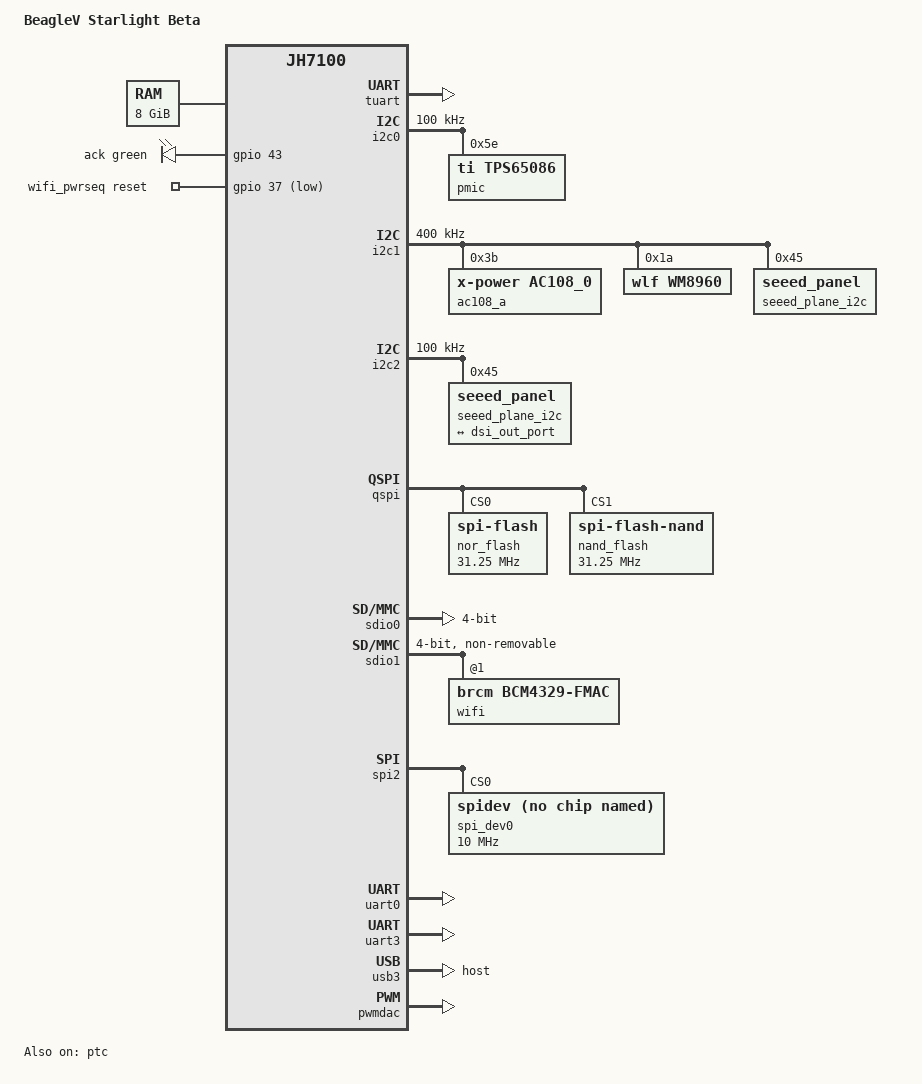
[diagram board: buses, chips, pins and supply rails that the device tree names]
// SPDX-License-Identifier: (GPL-2.0 OR MIT)
/* Copyright (c) 2021 StarFive Technology Co., Ltd. */

/dts-v1/;
#include "jh7100.dtsi"
#include <dt-bindings/gpio/gpio.h>
#include <dt-bindings/leds/common.h>
#include <dt-bindings/pinctrl/pinctrl-starfive.h>
#include <dt-bindings/starfive_fb.h>

/ {
	model = "BeagleV Starlight Beta";
	compatible = "beagle,beaglev-starlight-jh7100", "starfive,jh7100";

	aliases {
		mshc0 = &sdio0;
		mshc1 = &sdio1;
		serial0 = &uart3;
		serial1 = &uart0;
	};

	chosen {
		stdout-path = "serial0:115200n8";

        opensbi-domains {
            compatible = "opensbi,domain,config";

            tmem1: tmem1 {
                compatible = "opensbi,domain,memregion";
                base = <0x0 0xc0000000>;
                order = <30>;   // 1G
            };

            tmem2: tmem2 {
                compatible = "opensbi,domain,memregion";
                base = <0x1 0x00000000>;
                order = <32>;   // 4G
            };

            tmem3: tmem3 {
                compatible = "opensbi,domain,memregion";
                base = <0x2 0x00000000>;
                order = <31>;   // 2G
            };

            // uart used by secure linux
            tuart: tuart {
                compatible = "opensbi,domain,memregion";
                base = <0x0 0x12440000>;
                order = <16>;
                mmio;
                devices = <&uart3>;
            };

            // ethernet used by secure linux
            teth: teth {
                compatible = "opensbi,domain,memregion";
                base = <0x0 0x10020000>;
                order = <16>;
                mmio;
                devices = <&gmac>;
            };

            allmem: allmem {
                compatible = "opensbi,domain,memregion";
                base = <0x0 0x0>;
                order = <64>;
            };

            udomain: untrusted-domain {
                compatible = "opensbi,domain,instance";
                possible-harts = <&cpu0>;
                regions = <&tmem1 0x0>, <&tmem2 0x0>, <&tmem3 0x0>, <&tuart 0x0>, <&teth 0x0>, <&allmem 0x7>;
                boot-hart = <&cpu0>;
                next-arg1 = <0x0 0x82200000>;
                next-addr = <0x0 0x80200000>;
                next-mode = <0x1>;
                system-manager;
            };

            tdomain: trusted-domain {
                compatible = "opensbi,domain,instance";
                possible-harts = <&cpu1>;
                regions = <&allmem 0x7>;
                boot-hart = <&cpu1>;
                next-arg1 = <0x1 0x86000000>;
                next-addr = <0x0 0xc0200000>;
                next-mode = <0x1>;
                system-reset-allowed;
            };
        };
	};

	cpus {
		timebase-frequency = <6250000>;
        #address-cells = <1>;
		#size-cells = <0>;

		cpu0: cpu@0 {
			compatible = "sifive,u74-mc", "riscv";
            opensbi-domain = <&udomain>;
			d-cache-block-size = <64>;
			d-cache-sets = <64>;
			d-cache-size = <32768>;
			d-tlb-sets = <1>;
			d-tlb-size = <32>;
			device_type = "cpu";
			i-cache-block-size = <64>;
			i-cache-sets = <64>;
			i-cache-size = <32768>;
			i-tlb-sets = <1>;
			i-tlb-size = <32>;
			mmu-type = "riscv,sv39";
			next-level-cache = <&ccache>;
			reg = <0>;
			riscv,isa = "rv64imafdc";
			starfive,itim = <&itim0>;
			status = "okay";
			tlb-split;
			cpu0_intc: interrupt-controller {
				#interrupt-cells = <1>;
				compatible = "riscv,cpu-intc";
				interrupt-controller;
			};
		};

		cpu1: cpu@1 {
			compatible = "sifive,u74-mc", "riscv";
            opensbi-domain = <&tdomain>;
			d-cache-block-size = <64>;
			d-cache-sets = <64>;
			d-cache-size = <32768>;
			d-tlb-sets = <1>;
			d-tlb-size = <32>;
			device_type = "cpu";
			i-cache-block-size = <64>;
			i-cache-sets = <64>;
			i-cache-size = <32768>;
			i-tlb-sets = <1>;
			i-tlb-size = <32>;
			mmu-type = "riscv,sv39";
			next-level-cache = <&ccache>;
			reg = <1>;
			riscv,isa = "rv64imafdc";
			starfive,itim = <&itim1>;
			status = "okay";
			tlb-split;
			cpu1_intc: interrupt-controller {
				#interrupt-cells = <1>;
				compatible = "riscv,cpu-intc";
				interrupt-controller;
			};
		};
	};

	memory@80000000 {
		device_type = "memory";
		reg = <0x0 0x80000000 0x2 0x0>;
	};

	leds {
		compatible = "gpio-leds";

		led-ack {
			gpios = <&gpio 43 GPIO_ACTIVE_HIGH>;
			color = <LED_COLOR_ID_GREEN>;
			function = LED_FUNCTION_HEARTBEAT;
			linux,default-trigger = "heartbeat";
			label = "ack";
		};
	};

	reserved-memory {
		#address-cells = <2>;
		#size-cells = <2>;
		ranges;

        payload_reserved: mmode_resv0@80080000 {
            reg = <0x0 0xc0000000 0x1 0xc0000000>;
        };
	};

	wifi_pwrseq: wifi-pwrseq {
		compatible = "mmc-pwrseq-simple";
		reset-gpios = <&gpio 37 GPIO_ACTIVE_LOW>;
	};
};

&gmac {
	snps,reset-gpios = <&gpio 63 GPIO_ACTIVE_LOW>;
	pinctrl-names = "default";
	pinctrl-0 = <&gmac_pins>;
};

&gpio {
	/* don't reset gpio mux for serial console on uart3 */
	starfive,keep-gpiomux = <13 14 0 2 3 45>;

	gmac_pins: gmac-0 {
		gtxclk-pins {
			pins = <PAD_FUNC_SHARE(115)>;
			bias-pull-up;
			drive-strength = <35>;
			input-enable;
			input-schmitt-enable;
			slew-rate = <0>;
		};
		miitxclk-pins {
			pins = <PAD_FUNC_SHARE(116)>;
			bias-pull-up;
			drive-strength = <14>;
			input-enable;
			input-schmitt-disable;
			slew-rate = <0>;
		};
		tx-pins {
			pins = <PAD_FUNC_SHARE(117)>,
			       <PAD_FUNC_SHARE(119)>,
			       <PAD_FUNC_SHARE(120)>,
			       <PAD_FUNC_SHARE(121)>,
			       <PAD_FUNC_SHARE(122)>,
			       <PAD_FUNC_SHARE(123)>,
			       <PAD_FUNC_SHARE(124)>,
			       <PAD_FUNC_SHARE(125)>,
			       <PAD_FUNC_SHARE(126)>;
			bias-pull-up;
			drive-strength = <35>;
			input-disable;
			input-schmitt-disable;
			slew-rate = <0>;
		};
		rxclk-pins {
			pins = <PAD_FUNC_SHARE(127)>;
			bias-pull-up;
			drive-strength = <14>;
			input-enable;
			input-schmitt-disable;
			slew-rate = <6>;
		};
		rxer-pins {
			pins = <PAD_FUNC_SHARE(129)>;
			bias-pull-up;
			drive-strength = <14>;
			input-enable;
			input-schmitt-disable;
			slew-rate = <0>;
		};
		rx-pins {
			pins = <PAD_FUNC_SHARE(128)>,
			       <PAD_FUNC_SHARE(130)>,
			       <PAD_FUNC_SHARE(131)>,
			       <PAD_FUNC_SHARE(132)>,
			       <PAD_FUNC_SHARE(133)>,
			       <PAD_FUNC_SHARE(134)>,
			       <PAD_FUNC_SHARE(135)>,
			       <PAD_FUNC_SHARE(136)>,
			       <PAD_FUNC_SHARE(137)>,
			       <PAD_FUNC_SHARE(138)>,
			       <PAD_FUNC_SHARE(139)>,
			       <PAD_FUNC_SHARE(140)>,
			       <PAD_FUNC_SHARE(141)>;
			bias-pull-up;
			drive-strength = <14>;
			input-enable;
			input-schmitt-enable;
			slew-rate = <0>;
		};
	};

	i2c0_pins: i2c0-0 {
		i2c-pins {
			pinmux = <GPIOMUX(62, GPO_LOW,
				  GPO_I2C0_PAD_SCK_OEN,
				  GPI_I2C0_PAD_SCK_IN)>,
				 <GPIOMUX(61, GPO_LOW,
				  GPO_I2C0_PAD_SDA_OEN,
				  GPI_I2C0_PAD_SDA_IN)>;
			bias-disable; /* external pull-up */
			input-enable;
			input-schmitt-enable;
		};
	};

	i2c1_pins: i2c1-0 {
		i2c-pins {
			pinmux = <GPIOMUX(47, GPO_LOW,
				  GPO_I2C1_PAD_SCK_OEN,
				  GPI_I2C1_PAD_SCK_IN)>,
				 <GPIOMUX(48, GPO_LOW,
				  GPO_I2C1_PAD_SDA_OEN,
				  GPI_I2C1_PAD_SDA_IN)>;
			bias-pull-up;
			input-enable;
			input-schmitt-enable;
		};
	};

	i2c2_pins: i2c2-0 {
		i2c-pins {
			pinmux = <GPIOMUX(60, GPO_LOW,
				  GPO_I2C2_PAD_SCK_OEN,
				  GPI_I2C2_PAD_SCK_IN)>,
				 <GPIOMUX(59, GPO_LOW,
				  GPO_I2C2_PAD_SDA_OEN,
				  GPI_I2C2_PAD_SDA_IN)>;
			bias-disable; /* external pull-up */
			input-enable;
			input-schmitt-enable;
		};
	};

	pwm_pins: pwm-0 {
		pwm-pins {
			pinmux = <GPIOMUX(7,
				  GPO_PWM_PAD_OUT_BIT0,
				  GPO_PWM_PAD_OE_N_BIT0,
				  GPI_NONE)>,
				 <GPIOMUX(5,
				  GPO_PWM_PAD_OUT_BIT1,
				  GPO_PWM_PAD_OE_N_BIT1,
				  GPI_NONE)>;
				//  <GPIOMUX(45,
				//   GPO_PWM_PAD_OUT_BIT2,
				//   GPO_PWM_PAD_OE_N_BIT2,
				//   GPI_NONE)>;
			bias-disable;
			drive-strength = <35>;
			input-disable;
			input-schmitt-disable;
			slew-rate = <0>;
		};
	};

	sdio0_pins: sdio0-0 {
		clk-pins {
			pinmux = <GPIOMUX(54, GPO_SDIO0_PAD_CCLK_OUT,
				  GPO_ENABLE, GPI_NONE)>;
			bias-disable;
			input-disable;
			input-schmitt-disable;
		};
		sdio-pins {
			pinmux = <GPIOMUX(55, GPO_LOW, GPO_DISABLE,
				  GPI_SDIO0_PAD_CARD_DETECT_N)>,
				 <GPIOMUX(53,
				  GPO_SDIO0_PAD_CCMD_OUT,
				  GPO_SDIO0_PAD_CCMD_OEN,
				  GPI_SDIO0_PAD_CCMD_IN)>,
				 <GPIOMUX(49,
				  GPO_SDIO0_PAD_CDATA_OUT_BIT0,
				  GPO_SDIO0_PAD_CDATA_OEN_BIT0,
				  GPI_SDIO0_PAD_CDATA_IN_BIT0)>,
				 <GPIOMUX(50,
				  GPO_SDIO0_PAD_CDATA_OUT_BIT1,
				  GPO_SDIO0_PAD_CDATA_OEN_BIT1,
				  GPI_SDIO0_PAD_CDATA_IN_BIT1)>,
				 <GPIOMUX(51,
				  GPO_SDIO0_PAD_CDATA_OUT_BIT2,
				  GPO_SDIO0_PAD_CDATA_OEN_BIT2,
				  GPI_SDIO0_PAD_CDATA_IN_BIT2)>,
				 <GPIOMUX(52,
				  GPO_SDIO0_PAD_CDATA_OUT_BIT3,
				  GPO_SDIO0_PAD_CDATA_OEN_BIT3,
				  GPI_SDIO0_PAD_CDATA_IN_BIT3)>;
			bias-pull-up;
			input-enable;
			input-schmitt-enable;
		};
	};

	sdio1_pins: sdio1-0 {
		clk-pins {
			pinmux = <GPIOMUX(33, GPO_SDIO1_PAD_CCLK_OUT,
				  GPO_ENABLE, GPI_NONE)>;
			bias-disable;
			input-disable;
			input-schmitt-disable;
		};
		sdio-pins {
			pinmux = <GPIOMUX(29,
				  GPO_SDIO1_PAD_CCMD_OUT,
				  GPO_SDIO1_PAD_CCMD_OEN,
				  GPI_SDIO1_PAD_CCMD_IN)>,
				 <GPIOMUX(36,
				  GPO_SDIO1_PAD_CDATA_OUT_BIT0,
				  GPO_SDIO1_PAD_CDATA_OEN_BIT0,
				  GPI_SDIO1_PAD_CDATA_IN_BIT0)>,
				 <GPIOMUX(30,
				  GPO_SDIO1_PAD_CDATA_OUT_BIT1,
				  GPO_SDIO1_PAD_CDATA_OEN_BIT1,
				  GPI_SDIO1_PAD_CDATA_IN_BIT1)>,
				 <GPIOMUX(34,
				  GPO_SDIO1_PAD_CDATA_OUT_BIT2,
				  GPO_SDIO1_PAD_CDATA_OEN_BIT2,
				  GPI_SDIO1_PAD_CDATA_IN_BIT2)>,
				 <GPIOMUX(31,
				  GPO_SDIO1_PAD_CDATA_OUT_BIT3,
				  GPO_SDIO1_PAD_CDATA_OEN_BIT3,
				  GPI_SDIO1_PAD_CDATA_IN_BIT3)>;
			bias-pull-up;
			input-enable;
			input-schmitt-enable;
		};
	};

	spi2_pins: spi2-0 {
		mosi-pin {
			pinmux = <GPIOMUX(18, GPO_SPI2_PAD_TXD,
				  GPO_ENABLE, GPI_NONE)>;
			bias-disable;
			input-disable;
			input-schmitt-disable;
		};
		miso-pin {
			pinmux = <GPIOMUX(16, GPO_LOW, GPO_DISABLE,
				  GPI_SPI2_PAD_RXD)>;
			bias-pull-up;
			input-enable;
			input-schmitt-enable;
		};
		sck-pin {
			pinmux = <GPIOMUX(12, GPO_SPI2_PAD_SCK_OUT,
				  GPO_ENABLE, GPI_NONE)>;
			bias-disable;
			input-disable;
			input-schmitt-disable;
		};
		ss-pins {
			pinmux = <GPIOMUX(15, GPO_SPI2_PAD_SS_0_N,
				  GPO_ENABLE, GPI_NONE)>,
				 <GPIOMUX(11, GPO_SPI2_PAD_SS_1_N,
				  GPO_ENABLE, GPI_NONE)>;
			bias-disable;
			input-disable;
			input-schmitt-disable;
		};
	};

	uart0_pins: uart0-0 {
		rx-pins {
			pinmux = <GPIOMUX(40, GPO_LOW, GPO_DISABLE,
				  GPI_UART0_PAD_SIN)>,
				 <GPIOMUX(39, GPO_LOW, GPO_DISABLE,
				  GPI_UART0_PAD_CTSN)>;
			bias-pull-up;
			input-enable;
			input-schmitt-enable;
		};
		tx-pins {
			pinmux = <GPIOMUX(41, GPO_UART0_PAD_SOUT,
				  GPO_ENABLE, GPI_NONE)>,
				 <GPIOMUX(42, GPO_UART0_PAD_RTSN,
				  GPO_ENABLE, GPI_NONE)>;
			bias-disable;
			input-disable;
			input-schmitt-disable;
		};
	};

	uart3_pins: uart3-0 {
		rx-pins {
			pinmux = <GPIOMUX(13, GPO_LOW, GPO_DISABLE,
				  GPI_UART3_PAD_SIN)>;
			bias-pull-up;
			drive-strength = <14>;
			input-enable;
			input-schmitt-enable;
			slew-rate = <0>;
		};
		tx-pins {
			pinmux = <GPIOMUX(14, GPO_UART3_PAD_SOUT,
				  GPO_ENABLE, GPI_NONE)>;
			bias-disable;
			drive-strength = <35>;
			input-disable;
			input-schmitt-disable;
			slew-rate = <0>;
		};
	};

	dvpsensor_pins: dvp0 {
		signal-pins {
			pins = <PAD_FUNC_SHARE(98)>,
			       <PAD_FUNC_SHARE(99)>,
			       <PAD_FUNC_SHARE(100)>,
			       <PAD_FUNC_SHARE(101)>,
			       <PAD_FUNC_SHARE(102)>,
			       <PAD_FUNC_SHARE(103)>,
			       <PAD_FUNC_SHARE(104)>,
			       <PAD_FUNC_SHARE(105)>,
			       <PAD_FUNC_SHARE(106)>,
			       <PAD_FUNC_SHARE(107)>,
			       <PAD_FUNC_SHARE(108)>,
			       <PAD_FUNC_SHARE(109)>,
			       <PAD_FUNC_SHARE(110)>,
			       <PAD_FUNC_SHARE(111)>,
			       <PAD_FUNC_SHARE(112)>,
			       <PAD_FUNC_SHARE(113)>,
			       <PAD_FUNC_SHARE(114)>;
			input-enable;
		};
	};

	sensor0_default: sensor0 {
		reset-pins {
			pinmux = <GPIOMUX(58, GPO_LOW,
				  GPO_ENABLE, GPI_NONE)>;
			bias-disable;
			drive-strength = <35>;
			input-disable;
			input-schmitt-disable;
			slew-rate = <0>;
		};
	};

	sensor0_reset_low: sensor0 {
		reset-pins {
			pinmux = <GPIOMUX(58, GPO_LOW,
				  GPO_ENABLE, GPI_NONE)>;
			bias-disable;
			drive-strength = <35>;
			input-disable;
			input-schmitt-disable;
			slew-rate = <0>;
		};
	};

	sensor0_reset_high: sensor0 {
		reset-pins {
			pinmux = <GPIOMUX(58, GPO_HIGH,
				  GPO_ENABLE, GPI_NONE)>;
			bias-disable;
			drive-strength = <35>;
			input-disable;
			input-schmitt-disable;
			slew-rate = <0>;
		};
	};

	sensor1_default: sensor1 {
		reset-pins {
			pinmux = <GPIOMUX(57, GPO_LOW,
				  GPO_ENABLE, GPI_NONE)>;
			bias-disable;
			drive-strength = <35>;
			input-disable;
			input-schmitt-disable;
			slew-rate = <0>;
		};
	};

	sensor1_reset_low: sensor1 {
		reset-pins {
			pinmux = <GPIOMUX(57, GPO_LOW,
				  GPO_ENABLE, GPI_NONE)>;
			bias-disable;
			drive-strength = <35>;
			input-disable;
			input-schmitt-disable;
			slew-rate = <0>;
		};
	};

	sensor1_reset_high: sensor1 {
		reset-pins {
			pinmux = <GPIOMUX(57, GPO_HIGH,
				  GPO_ENABLE, GPI_NONE)>;
			bias-disable;
			drive-strength = <35>;
			input-disable;
			input-schmitt-disable;
			slew-rate = <0>;
		};
	};

	pwmdac_pins: pwmdac_0 {
		pwmdac_pins {
			pinmux = <GPIOMUX(23, GPO_PWMDAC_LEFT_OUT,
				  GPO_ENABLE, GPI_NONE)>,
				  <GPIOMUX(24, GPO_PWMDAC_RIGHT_OUT,
				  GPO_ENABLE, GPI_NONE)>;
			bias-disable;
			drive-strength = <35>;
			input-disable;
			input-schmitt-disable;
			slew-rate = <0>;
		};
	};
};

&i2c0 {
	clock-frequency = <100000>;
	i2c-sda-hold-time-ns = <300>;
	i2c-sda-falling-time-ns = <500>;
	i2c-scl-falling-time-ns = <500>;
	pinctrl-names = "default";
	pinctrl-0 = <&i2c0_pins>;
	status = "okay";

	pmic@5e {
		compatible = "ti,tps65086";
		reg = <0x5e>;
		gpio-controller;
		#gpio-cells = <2>;

		regulators {
		};
	};
};

&i2c1 {
	clock-frequency = <400000>;
	i2c-sda-hold-time-ns = <300>;
	i2c-sda-falling-time-ns = <100>;
	i2c-scl-falling-time-ns = <100>;
	pinctrl-names = "default";
	pinctrl-0 = <&i2c1_pins>;
	status = "okay";

	ac108_a: ac108@3b {
		compatible = "x-power,ac108_0";
		reg = <0x3b>;
		#sound-dai-cells = <0>;
		data-protocol = <0>;
	};
	wm8960: codec@1a {
		compatible = "wlf,wm8960";
		reg = <0x1a>;
		#sound-dai-cells = <0>;
		wlf,shared-lrclk;
	};
	seeed_plane_i2c@45 {
		compatible = "seeed_panel";
		reg = <0x45>;
	};
};

&i2c2 {
	clock-frequency = <100000>;
	i2c-sda-hold-time-ns = <300>;
	i2c-sda-falling-time-ns = <500>;
	i2c-scl-falling-time-ns = <500>;
	pinctrl-names = "default";
	pinctrl-0 = <&i2c2_pins>;
	status = "okay";

	seeed_plane_i2c@45 {
		compatible = "seeed_panel";
		reg = <0x45>;

		port {
			panel_dsi_port: endpoint {
				remote-endpoint = <&dsi_out_port>;
			};
		};
	};
};

&osc_sys {
	clock-frequency = <25000000>;
};

&osc_aud {
	clock-frequency = <27000000>;
};

&ptc {
	pinctrl-names = "default";
	pinctrl-0 = <&pwm_pins>;
	status = "okay";
};

&qspi {
	nor_flash: nor-flash@0 {
		compatible = "spi-flash";
		reg = <0>;
		spi-max-frequency = <31250000>;
		page-size = <256>;
		block-size = <16>;
		cdns,read-delay = <4>;
		cdns,tshsl-ns = <1>;
		cdns,tsd2d-ns = <1>;
		cdns,tchsh-ns = <1>;
		cdns,tslch-ns = <1>;
		spi-tx-bus-width = <1>;
		spi-rx-bus-width = <1>;
	};

	nand_flash: nand-flash@1 {
		compatible = "spi-flash-nand";
		reg = <1>;
		spi-max-frequency = <31250000>;
		page-size = <2048>;
		block-size = <17>;
		cdns,read-delay = <4>;
		cdns,tshsl-ns = <1>;
		cdns,tsd2d-ns = <1>;
		cdns,tchsh-ns = <1>;
		cdns,tslch-ns = <1>;
		spi-tx-bus-width = <1>;
		spi-rx-bus-width = <1>;
	};
};

&sdio0 {
	broken-cd;
	bus-width = <4>;
	cap-sd-highspeed;
	pinctrl-names = "default";
	pinctrl-0 = <&sdio0_pins>;
	status = "okay";
};

&sdio1 {
	#address-cells = <1>;
	#size-cells = <0>;
	bus-width = <4>;
	cap-sd-highspeed;
	cap-sdio-irq;
	cap-power-off-card;
	max-frequency = <10000000>;
	mmc-pwrseq = <&wifi_pwrseq>;
	non-removable;
	pinctrl-names = "default";
	pinctrl-0 = <&sdio1_pins>;
	status = "okay";

	wifi@1 {
		compatible = "brcm,bcm4329-fmac";
		reg = <1>;
	};
};

&spi2 {
	pinctrl-names = "default";
	pinctrl-0 = <&spi2_pins>;
	status = "okay";

	spi_dev0: spi@0 {
		compatible = "rohm,dh2228fv";
		spi-max-frequency = <10000000>;
		reg = <0>;
	};
};

&uart0 {
	pinctrl-names = "default";
	pinctrl-0 = <&uart0_pins>;
	status = "okay";
};

&uart3 {
	pinctrl-names = "default";
	pinctrl-0 = <&uart3_pins>;
	status = "okay";
};

&usb3 {
	dr_mode = "host";
	status = "okay";
};

&pwmdac {
	pinctrl-names = "default";
	pinctrl-0 = <&pwmdac_pins>;
	status = "okay";
};

/* #include "codecs/sf_pdm.dtsi" */
/* #include "codecs/sf_spdif.dtsi" */
/* #include "codecs/sf_ac108.dtsi" */
/* #include "codecs/sf_wm8960.dtsi" */
/* #include "codecs/sf_vad.dtsi" */
